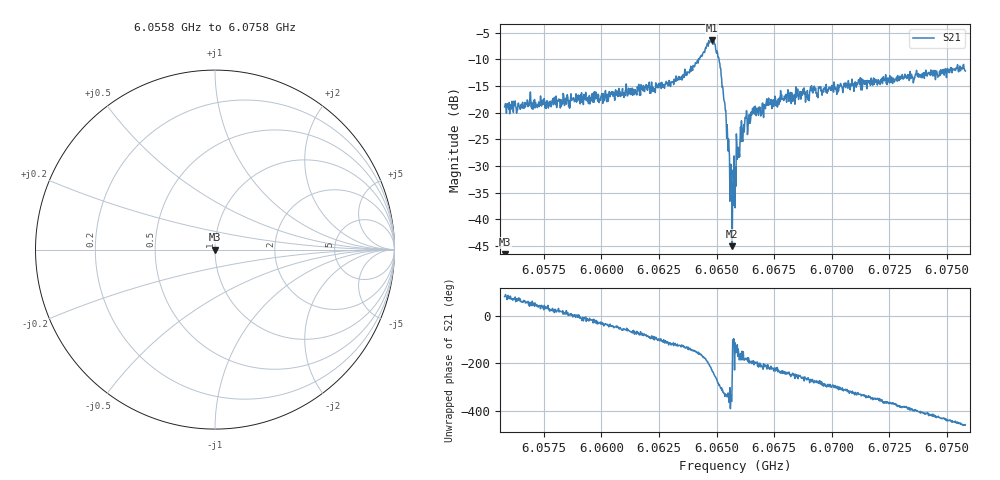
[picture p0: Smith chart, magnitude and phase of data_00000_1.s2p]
! Created with skrf (http://scikit-rf.org).
# Hz S RI R 50.0
!freq ReS11 ImS11 ReS21 ImS21 ReS12 ImS12 ReS22 ImS22
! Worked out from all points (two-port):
!   1001 points, 6.0558 GHz to 6.0758 GHz, reference 50 ohm
!   highest |S21| = -6.49 dB at 6.0648 GHz (marker M1); lowest = -45.0 dB at 6.06568 GHz (marker M2)
!   |S21| within 3 dB of the highest: 6.064319 GHz to 6.06506 GHz (741.3 kHz wide, 0.0122 % of centre)
!   lowest |S11| = - dB at 6.0558 GHz (marker M3), VSWR 1.00, Z = 50 + j0 ohm
!   |S11| at or under -10 dB: start of sweep to end of sweep
!   S12 and S22 are empty: the file has one direction only
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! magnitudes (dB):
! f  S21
! 6.0558 GHz  -18.9
! 6.05914 GHz  -16.3
! 6.06248 GHz  -15.3
! 6.06376 GHz  -12.4
! 6.0648 GHz  -6.5
! 6.065 GHz  -8.9
! 6.06518 GHz  -11.7
! 6.06536 GHz  -18.2
! 6.06546 GHz  -22.2
! 6.06556 GHz  -28.2
! 6.06558 GHz  -36.6
! 6.06568 GHz  -45.0
! 6.06574 GHz  -37.3
! 6.0658 GHz  -37.8
! 6.06596 GHz  -28.4
! 6.06614 GHz  -25.4
! 6.0666 GHz  -20.1
! 6.0681 GHz  -15.7
! 6.06892 GHz  -17.1
! 6.06914 GHz  -15.4
! 6.07248 GHz  -13.7
! 6.0758 GHz  -12.2
